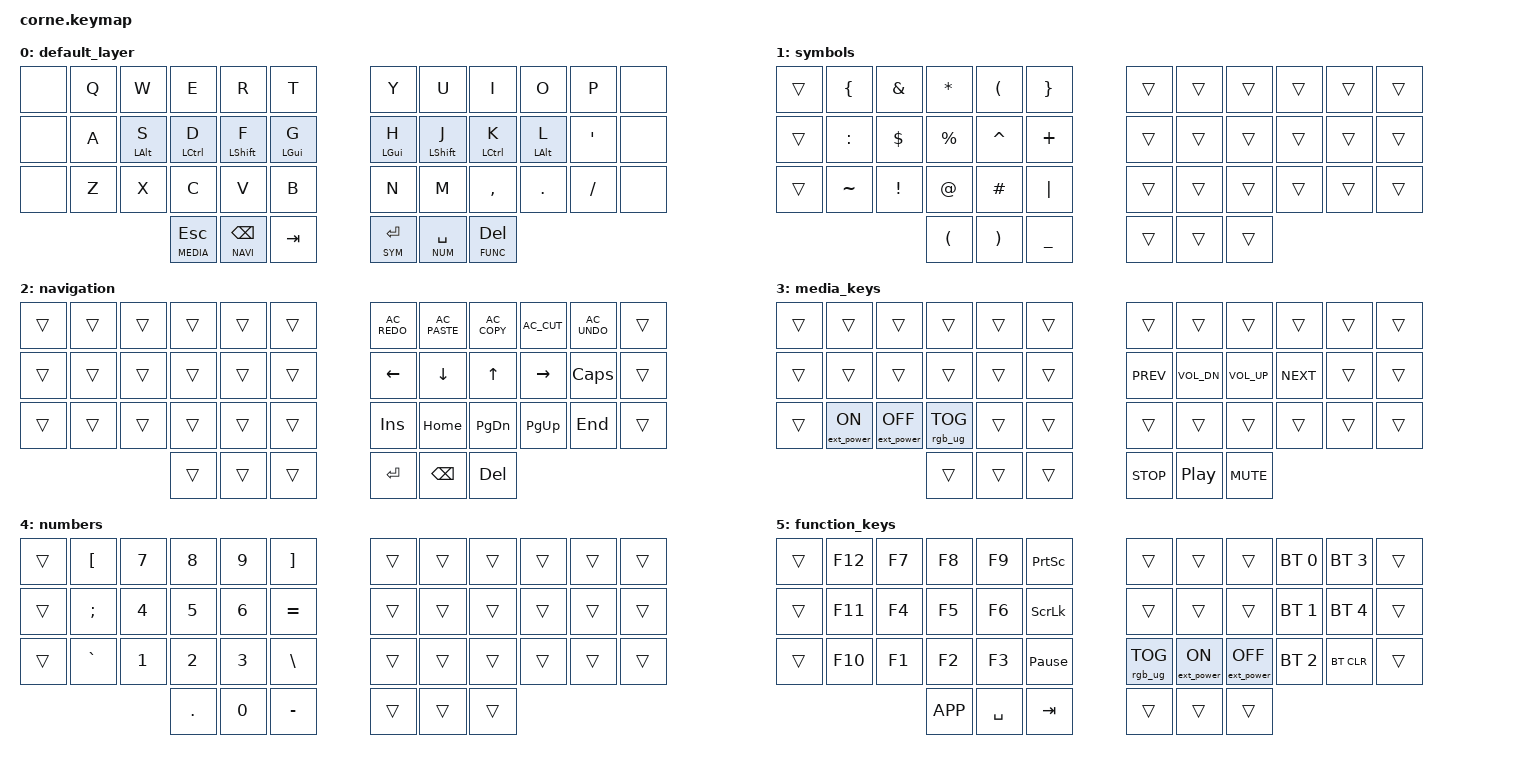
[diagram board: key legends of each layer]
/* miryoku layout based on
 * https://github.com/sethdwoolley/zmk-config
 */

#include <behaviors.dtsi>
#include <dt-bindings/zmk/keys.h>
#include <dt-bindings/zmk/bt.h>
#include <dt-bindings/zmk/rgb.h>
#include <dt-bindings/zmk/ext_power.h>

// Layer Definitions
#define DEFAULT 0
#define SYM 1 
#define NAVI 2
#define MEDIA 3
#define NUM 4
#define FUNC 5
#define NONE 0

/ {
//  Homerow mod held behaviour
    behaviors {
        hm: homerow_mods {
            compatible = "zmk,behavior-hold-tap";
            label = "HOMEROW_MODS";
            #binding-cells = <2>;
            tapping-term-ms = <150>;
            quick_tap_ms = <0>;
            flavor = "tap-preferred";
            bindings = <&kp>, <&kp>;
        };
    };


    keymap {
        compatible = "zmk,keymap";

        default_layer {
            bindings = <
&none  &kp Q        &kp W      &kp E         &kp R          &kp T         &kp Y       &kp U         &kp I         &kp O        &kp P        &none
&none  &kp A        &hm LALT S &hm LCTRL D   &hm LSHFT F    &hm LGUI G    &hm LGUI H  &hm LSHFT J   &hm LCTRL K   &hm LALT L   &kp APOS     &none
&none  &kp Z        &kp X      &kp C         &kp V          &kp B         &kp N       &kp M         &kp CMMA      &kp DOT      &kp FSLH     &none
                               &lt MEDIA ESC &lt NAVI BSPC  &kp TAB       &lt SYM RET &lt NUM SPACE &lt FUNC DEL
// TODO: Add mouse layer when ZMK supports it
            >;
        };

        symbols {
            bindings = <
&trans  &kp LBRC  &kp AMPS   &kp STAR    &kp LPAR   &kp RBRC      &trans  &trans  &trans  &trans  &trans  &trans    
&trans  &kp COLON &kp DLLR   &kp PRCNT   &kp CARET  &kp PLUS      &trans  &trans  &trans  &trans  &trans  &trans
&trans  &kp TILDE &kp EXCL   &kp AT      &kp POUND  &kp PIPE      &trans  &trans  &trans  &trans  &trans  &trans
                             &kp LPAR    &kp RPAR   &kp UNDER     &trans  &trans  &trans
            >;  
        };

        navigation {
            bindings = <
&trans  &trans  &trans  &trans  &trans  &trans       &kp C_AC_REDO  &kp C_AC_PASTE  &kp C_AC_COPY  &kp C_AC_CUT  &kp C_AC_UNDO  &trans
&trans  &trans  &trans  &trans  &trans  &trans       &kp LEFT       &kp DOWN        &kp UP         &kp RIGHT     &kp CAPS       &trans
&trans  &trans  &trans  &trans  &trans  &trans       &kp INS        &kp HOME        &kp PG_DN      &kp PG_UP     &kp END        &trans
                        &trans  &trans  &trans       &kp RET        &kp BSPC        &kp DEL
            >;
        };

        media_keys {
            bindings = <
&trans  &trans  &trans  &trans  &trans  &trans      &trans     &trans     &trans       &trans       &trans     &trans    
&trans  &trans  &trans  &trans  &trans  &trans      &kp C_PREV &kp C_VOL_DN &kp C_VOL_UP &kp C_NEXT &trans     &trans
&trans  &ext_power EP_ON &ext_power EP_OFF  &rgb_ug RGB_TOG  &trans  &trans      &trans     &trans     &trans       &trans       &trans     &trans
                        &trans  &trans  &trans      &kp C_STOP &kp C_PP   &kp C_MUTE
            >;
        };

        numbers {
            bindings = <
&trans    &kp LBKT   &kp N7   &kp N8   &kp N9    &kp RBKT      &trans  &trans  &trans  &trans  &trans  &trans    
&trans    &kp SEMI   &kp N4   &kp N5   &kp N6    &kp EQUAL     &trans  &trans  &trans  &trans  &trans  &trans
&trans    &kp GRAVE  &kp N1   &kp N2   &kp N3    &kp BSLH      &trans  &trans  &trans  &trans  &trans  &trans    
                             &kp DOT  &kp N0    &kp MINUS     &trans  &trans  &trans
            >;
        };

        function_keys {
            bindings = <
&trans  &kp F12    &kp F7     &kp F8     &kp F9     &kp PSCRN         &trans  &trans  &trans  &bt BT_SEL 0  &bt BT_SEL 3 &trans
&trans  &kp F11    &kp F4     &kp F5     &kp F6     &kp SLCK          &trans  &trans  &trans  &bt BT_SEL 1  &bt BT_SEL 4 &trans
&trans  &kp F10    &kp F1     &kp F2     &kp F3     &kp PAUSE_BREAK   &rgb_ug RGB_TOG  &ext_power EP_ON &ext_power EP_OFF  &bt BT_SEL 2  &bt BT_CLR   &trans
                              &kp K_APP  &kp SPACE  &kp TAB           &trans  &trans  &trans
            >;
        };
    };
};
